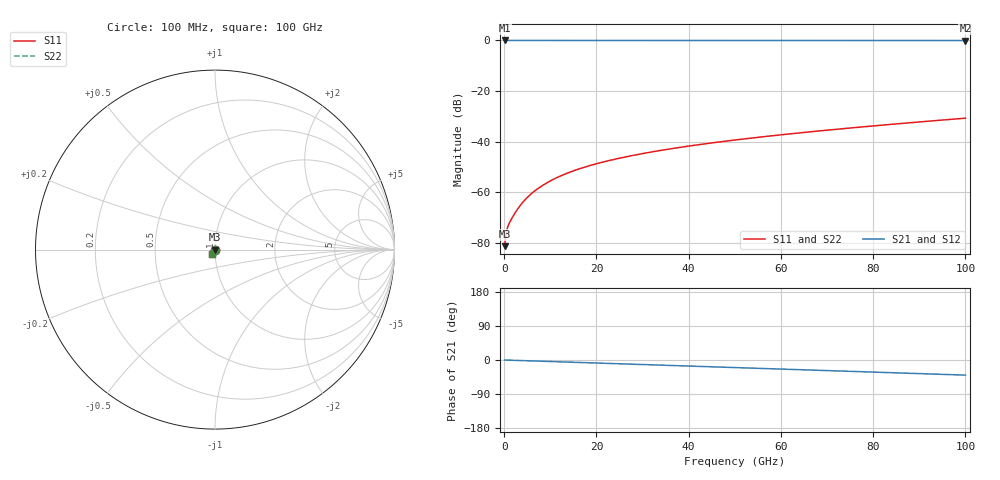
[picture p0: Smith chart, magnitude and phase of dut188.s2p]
! Touchstone file exported from HFSS 2026.1.0
!  File:  C:/ffzhzh/LocalFiles/Ansys_Project_Files/temp_train_TSV_188_1783507233_55944.aedt
!  Generated:  06:41:44 PM Jul  8, 2026
!  Design:  TSV
!  Project:  temp_train_TSV_188_1783507233_55944
! Variables:
!  h_bsmrdl = 2um
!  h_ox = 20um
!  h_rdl = 5um
!  h_sub = 78.27um
!  h_tmrdl = 5um
!  h_tsv = 78.27um
!  h_via = 3um
!  l_bsmrdl = 300um
!  l_sub = 426.42um
!  l_tmrdl = 200um
!  m_sub = 200um
!  pitch = 51.42um
!  r_tsv = 13.21um
!  s_tmrdl = 10um
!  w_bsmrdl = 18um
!  w_sub = 500um
!  w_tmrdl = 12um
!  x_tsv_center1 = 206um
!  x_tsv_center2 = 524um
!  x_tsv_center3 = 736um
!  x_tsv_center4 = 1054um
!  x_tsv_center5 = 1266um
!  x_tsv_center6 = 1584um
# GHz S MA R 50.000000
! Terminal data exported
! Port[1] = TSV1_1_T1
! Port[2] = TSV1_1_T2
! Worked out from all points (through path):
!   1000 points, 100 MHz to 100 GHz, reference 50 ohm
!   highest |S21| = 0.00 dB at 100 MHz (marker M1); lowest = 0.0 dB at 100 GHz (marker M2)
!   group delay of S21, straight-line fit = 1.11 ps
!   lowest |S11| = -81.3 dB at 100 MHz (marker M3), VSWR 1.00, Z = 50 + j0.00228 ohm
!   |S11| at or under -10 dB: start of sweep to end of sweep
!   |S22| runs from -81.3 to -30.7 dB; largest |S21 - S12| = 2.2e-15
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0.1  8.618e-05 15.3  0.9999 -0.0  0.9999 -0.0  8.618e-05 15.3
! Gamma 0 0 0 0
! Port Impedance 50 0 50 0
0.4  0.0001489 22.3  0.9999 -0.2  0.9999 -0.2  0.0001489 22.3
0.9  0.000223 4.9  0.9998 -0.4  0.9998 -0.4  0.000223 4.9
1.2  0.0002556 -4.0  0.9997 -0.5  0.9997 -0.5  0.0002557 -4.0
1.7  0.0003097 -15.5  0.9997 -0.7  0.9997 -0.7  0.0003097 -15.5
2.6  0.0004213 -29.9  0.9996 -1.0  0.9996 -1.0  0.0004214 -29.9
3.5  0.0005503 -39.9  0.9996 -1.4  0.9996 -1.4  0.0005505 -39.9
4.5  0.0007067 -47.9  0.9995 -1.8  0.9995 -1.8  0.0007069 -47.9
5.5  0.0008714 -53.8  0.9995 -2.2  0.9995 -2.2  0.0008716 -53.8
7.7  0.001253 -62.5  0.9994 -3.1  0.9994 -3.1  0.001253 -62.5
10.3  0.001733 -68.6  0.9992 -4.1  0.9992 -4.1  0.001734 -68.5
13.3  0.002311 -73.6  0.9991 -5.3  0.9991 -5.3  0.002312 -73.5
16.8  0.003008 -78.1  0.999 -6.7  0.999 -6.7  0.003009 -78.0
20.2  0.003703 -81.6  0.9989 -8.0  0.9989 -8.0  0.003705 -81.5
24.1  0.004525 -85.0  0.9988 -9.6  0.9988 -9.6  0.004527 -84.9
28.5  0.005484 -88.3  0.9987 -11.3  0.9987 -11.3  0.005487 -88.2
33.4  0.006597 -91.6  0.9986 -13.3  0.9986 -13.3  0.006601 -91.5
41.1  0.008453 -96.4  0.9984 -16.3  0.9984 -16.3  0.008458 -96.2
50.1  0.01081 -101.4  0.9982 -19.9  0.9982 -19.9  0.01081 -101.3
66.7  0.01578 -110.1  0.9979 -26.5  0.9979 -26.5  0.01578 -109.9
83.4  0.0218 -118.3  0.9974 -33.2  0.9974 -33.2  0.02181 -118.1
100  0.02913 -126.4  0.9968 -39.9  0.9968 -39.9  0.02914 -126.2
